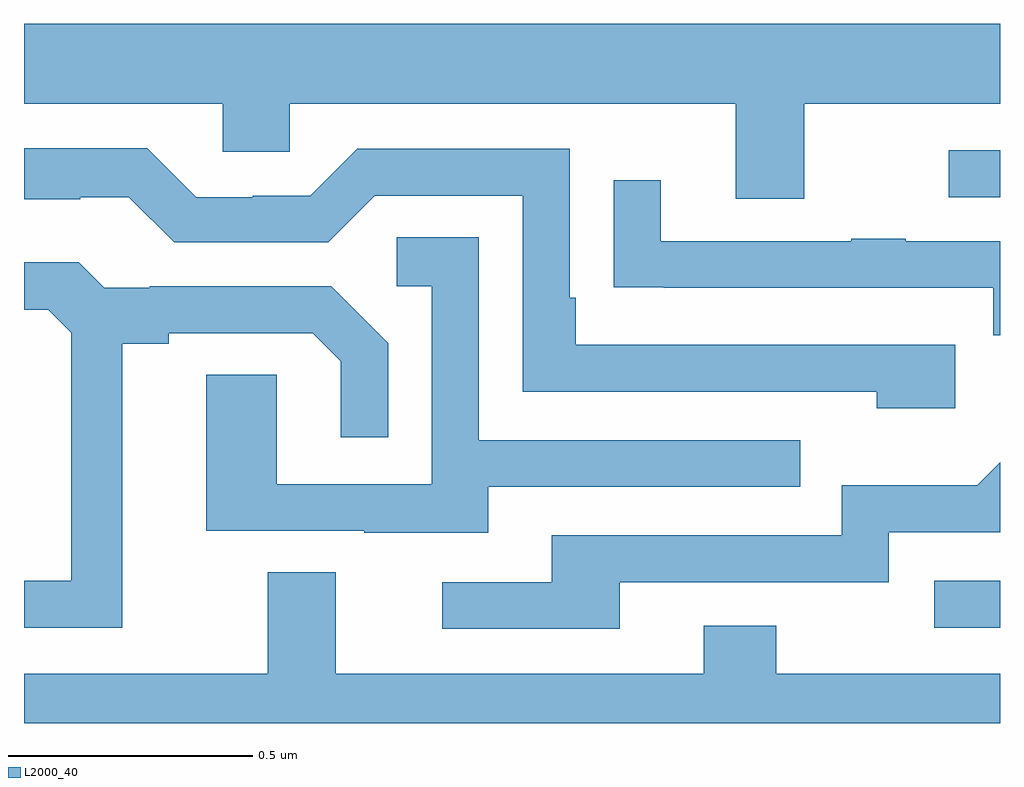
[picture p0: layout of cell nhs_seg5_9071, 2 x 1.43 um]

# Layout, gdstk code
import gdstk
lib = gdstk.Library(unit=1e-6, precision=1e-09)
def R(c, l, rs):  # rectangles x0, y0, x1, y1
    for r in rs: c.add(gdstk.rectangle(r[:2], r[2:], *l))
def P(c, l, *ps):  # polygons
    for p in ps: c.add(gdstk.Polygon(p, *l))
L2000_40 = (2000, 40)

nhs_seg5_9071 = lib.new_cell('nhs_seg5_9071')
R(nhs_seg5_9071, L2000_40, [(230.865,880.995,231,881.091), (230.895,881.877,231,881.973)])
P(nhs_seg5_9071, L2000_40, [(230.599,882.068),(231,882.068),(231,882.232),(229,882.232),(229,882.068),(229.407,882.068),(229.407,881.97),(229.545,881.97),(229.545,882.068),(230.459,882.068),(230.459,881.874),(230.599,881.874)],
  [(230.908,881.574),(230.131,881.574),(230.131,881.671),(230.118,881.671),(230.118,881.976),(229.683,881.976),(229.587,881.88),(229.469,881.88),(229.469,881.877),(229.353,881.877),(229.253,881.977),(229,881.977),(229,881.873),(229.115,881.873),(229.115,881.877),(229.215,881.877),(229.308,881.784),(229.623,881.784),(229.719,881.88),(230.022,881.88),(230.022,881.478),(230.747,881.478),(230.747,881.444),(230.908,881.444)],
  [(231,881.787),(230.807,881.787),(230.807,881.792),(230.695,881.792),(230.695,881.787),(230.305,881.787),(230.305,881.911),(230.209,881.911),(230.209,881.692),(230.311,881.692),(230.311,881.691),(230.986,881.691),(230.986,881.594),(231,881.594)],
  [(229.951,881.283),(230.591,881.283),(230.591,881.379),(229.932,881.379),(229.932,881.795),(229.764,881.795),(229.764,881.694),(229.836,881.694),(229.836,881.289),(229.518,881.289),(229.518,881.513),(229.373,881.513),(229.373,881.193),(229.697,881.193),(229.697,881.189),(229.951,881.189)],
  [(229.201,881.576),(229.297,881.576),(229.297,881.598),(229.592,881.598),(229.649,881.541),(229.649,881.385),(229.746,881.385),(229.746,881.578),(229.63,881.694),(229.258,881.694),(229.258,881.691),(229.164,881.691),(229.112,881.743),(229,881.743),(229,881.646),(229.05,881.646),(229.097,881.599),(229.097,881.091),(229,881.091),(229,880.995),(229.201,880.995)],
  [(230.221,881.088),(230.772,881.088),(230.772,881.19),(231,881.19),(231,881.334),(230.953,881.287),(230.676,881.287),(230.676,881.184),(230.081,881.184),(230.081,881.088),(229.857,881.088),(229.857,880.992),(230.221,880.992)],
  [(231,880.9),(230.541,880.9),(230.541,880.999),(230.393,880.999),(230.393,880.9),(229.639,880.9),(229.639,881.108),(229.499,881.108),(229.499,880.9),(229,880.9),(229,880.799),(231,880.799)])

lib.write_gds('nhs_seg5_9071.gds')
